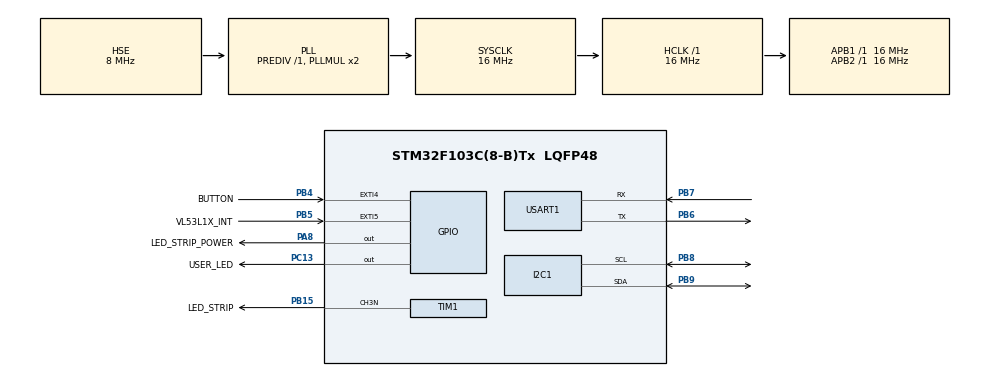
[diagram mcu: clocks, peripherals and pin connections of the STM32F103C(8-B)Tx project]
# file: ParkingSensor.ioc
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Dma.Request0=TIM1_CH3
Dma.Request1=USART1_TX
Dma.TIM1_CH3.0.Direction=DMA_MEMORY_TO_PERIPH
Dma.TIM1_CH3.0.Instance=DMA1_Channel6
Dma.TIM1_CH3.0.MemDataAlignment=DMA_MDATAALIGN_BYTE
Dma.TIM1_CH3.0.MemInc=DMA_MINC_ENABLE
Dma.TIM1_CH3.0.Mode=DMA_CIRCULAR
Dma.TIM1_CH3.0.PeriphDataAlignment=DMA_PDATAALIGN_WORD
Dma.TIM1_CH3.0.PeriphInc=DMA_PINC_DISABLE
Dma.TIM1_CH3.0.Priority=DMA_PRIORITY_MEDIUM
Dma.USART1_TX.1.Direction=DMA_MEMORY_TO_PERIPH
Dma.USART1_TX.1.Instance=DMA1_Channel4
Dma.USART1_TX.1.MemDataAlignment=DMA_MDATAALIGN_BYTE
Dma.USART1_TX.1.MemInc=DMA_MINC_ENABLE
Dma.USART1_TX.1.Mode=DMA_NORMAL
Dma.USART1_TX.1.PeriphDataAlignment=DMA_PDATAALIGN_BYTE
Dma.USART1_TX.1.PeriphInc=DMA_PINC_DISABLE
Dma.USART1_TX.1.Priority=DMA_PRIORITY_LOW
I2C1.I2C_Mode=I2C_Fast
Mcu.Family=STM32F1
Mcu.Name=STM32F103C(8-B)Tx
Mcu.Package=LQFP48
NVIC.DMA1_Channel4_IRQn=true\:0\:0\:false\:false\:true\:false\:true\:true
NVIC.DMA1_Channel6_IRQn=true\:4\:0\:true\:false\:true\:false\:true\:true
NVIC.EXTI4_IRQn=true\:6\:0\:true\:false\:true\:true\:true\:true
NVIC.EXTI9_5_IRQn=true\:6\:0\:true\:false\:true\:true\:true\:true
NVIC.PriorityGroup=NVIC_PRIORITYGROUP_4
NVIC.USART1_IRQn=true\:10\:0\:true\:false\:true\:true\:true\:true
PA13.Mode=Serial_Wire
PA13.Signal=SYS_JTMS-SWDIO
PA14.Mode=Serial_Wire
PA14.Signal=SYS_JTCK-SWCLK
PA8.GPIO_Label=LED_STRIP_POWER
PA8.GPIO_ModeDefaultOutputPP=GPIO_MODE_OUTPUT_PP
PA8.GPIO_Speed=GPIO_SPEED_FREQ_HIGH
PA8.Signal=GPIO_Output
PB15.GPIO_Label=LED_STRIP
PB15.GPIO_ModeDefaultPP=GPIO_MODE_AF_OD
PB15.GPIO_Speed=GPIO_SPEED_FREQ_HIGH
PB15.Mode=PWM Generation3 CH3N
PB15.Signal=TIM1_CH3N
PB4.GPIO_Label=BUTTON
PB4.GPIO_ModeDefaultEXTI=GPIO_MODE_IT_RISING_FALLING
PB4.Signal=GPXTI4
PB5.GPIO_Label=VL53L1X_INT
PB5.Signal=GPXTI5
PB6.Mode=Asynchronous
PB6.Signal=USART1_TX
PB7.Mode=Asynchronous
PB7.Signal=USART1_RX
PB8.Mode=I2C
PB8.Signal=I2C1_SCL
PB9.Mode=I2C
PB9.Signal=I2C1_SDA
PC13-TAMPER-RTC.GPIO_Label=USER_LED
PC13-TAMPER-RTC.PinState=GPIO_PIN_SET
PC13-TAMPER-RTC.Signal=GPIO_Output
PD0-OSC_IN.Mode=HSE-External-Oscillator
PD0-OSC_IN.Signal=RCC_OSC_IN
PD1-OSC_OUT.Mode=HSE-External-Oscillator
PD1-OSC_OUT.Signal=RCC_OSC_OUT
ProjectManager.HeapSize=0x200
ProjectManager.StackSize=0x400
ProjectManager.TargetToolchain=CMake
RCC.AHBFreq_Value=16000000
RCC.APB1Freq_Value=16000000
RCC.APB1TimFreq_Value=16000000
RCC.APB2Freq_Value=16000000
RCC.APB2TimFreq_Value=16000000
RCC.HCLKFreq_Value=16000000
RCC.PLLSourceVirtual=RCC_PLLSOURCE_HSE
RCC.SYSCLKFreq_VALUE=16000000
RCC.SYSCLKSource=RCC_SYSCLKSOURCE_PLLCLK
RCC.USBFreq_Value=16000000
TIM1.AutoReloadPreload=TIM_AUTORELOAD_PRELOAD_ENABLE
TIM1.Channel-PWM\ Generation3\ CH3N=TIM_CHANNEL_3
TIM1.Period=29
USART1.VirtualMode=VM_ASYNC
VP_TIM1_VS_ClockSourceINT.Mode=Internal
board=custom

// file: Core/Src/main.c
/* USER CODE BEGIN Header */
/**
  ******************************************************************************
  * @file           : main.c
  * @brief          : Main program body
  ******************************************************************************
  * @attention
  *
  * Copyright (c) 2024 STMicroelectronics.
  * All rights reserved.
  *
  * This software is licensed under terms that can be found in the LICENSE file
  * in the root directory of this software component.
  * If no LICENSE file comes with this software, it is provided AS-IS.
  *
  ******************************************************************************
  */
/* USER CODE END Header */
#include "main.h"
#include "dma.h"
#include "gpio.h"
#include "i2c.h"
#include "tim.h"
#include "usart.h"

/* USER CODE BEGIN Includes */
#include "VL53L1X_api.h"
#include "button.h"
#include "eeprom.h"
#include "math.h"
#include "miniPrintf.h"
#include "movingAvg.h"
#include "parkingConfig.h"
#include "smartLED.h"
#include "timer.h"

/* USER CODE END Includes */

/* USER CODE BEGIN PTD */
typedef enum {
    STATUS_RESET = 0,
    STATUS_RUNNING = 1,
    STATUS_STOP = 2,
} parkingSensorStatus_t;

/* USER CODE END PTD */

/* USER CODE BEGIN PV */
/* Objects */
button_t userBtn;
userTimer_t timerButton, timerBrightness, timerMeasure;
smartLED_t LEDstrip;
VL53L1_Dev_t VL53L1X_dev;
movingAvg_t _distMovAvg, _appSpeedMovAvg;
/* Sensor status */
parkingSensorStatus_t status = STATUS_STOP;
/* Distance measurement */
uint16_t measStopCnt = 0, measStartCnt = 0;
uint16_t actualDistance = 0, targetDistance = 1000, previousDistance = 0;
uint8_t blink = 0;
/* LED brightness control */
int8_t brightnessDir = 2;
uint16_t brightnessSaveCnt = 0, brightnessWaitCnt = 0;
/* USER CODE END PV */

void SystemClock_Config(void);

int main(void) {

    /* MCU Configuration--------------------------------------------------------*/

    /* Reset of all peripherals, Initializes the Flash interface and the Systick. */
    HAL_Init();

    /* Configure the system clock */
    SystemClock_Config();

    /* Initialize all configured peripherals */
    MX_GPIO_Init();
    MX_DMA_Init();
    MX_USART1_UART_Init();
    MX_TIM1_Init();
    MX_I2C1_Init();
    /* USER CODE BEGIN 2 */

    /* Button initialization */
    buttonInit(&userBtn, BUTTON_TYPE_NORMAL, configBUTTON_DEBOUNCING_MS, configBUTTON_RESET_MS, configBUTTON_LONGPRESS_MS, configBUTTON_VERYLONGPRESS_MS);

    /* Timers initialization */
    timerInit(&timerButton, configTIMER_BUTTON_MS);
    timerInit(&timerBrightness, configTIMER_BRIGHTNESS_MS);
    timerInit(&timerMeasure, configTIMER_MEASURE_MS);

    /* Moving average initialization */
    movingAvgInit(&_distMovAvg, configMOVAVG_LIDAR_SAMPLES);
    movingAvgInit(&_appSpeedMovAvg, configMOVAVG_APPSPEED_SAMPLES);

    /* LED Strip initialization */
    LEDstrip.chip = WS2812B;
    LEDstrip.type = SMARTLED_RGB;
    LEDstrip.size = configLED_NUMBER;
    LEDstrip.htim = &htim1;
    LEDstrip.timType = SMARTLED_TIMER_EXTENDED;
    LEDstrip.timChannel = TIM_CHANNEL_3;
    LEDstrip.LEDperIRQ = configLED_PER_IRQ;
    if (smartLED_init(&LEDstrip) != SMARTLED_SUCCESS) {
        for (;;) {}
    }

    /* VL53L1X initialization */
    VL53L1X_dev.I2cHandle = &hi2c1;
    VL53L1X_dev.I2cDevAddr = 0x52;
    uint8_t buf = 0;
    while (buf == 0) {
        VL53L1X_BootState(VL53L1X_dev, &buf);
        HAL_Delay(2);
    }
    VL53L1X_SensorInit(VL53L1X_dev);
    VL53L1X_StartTemperatureUpdate(VL53L1X_dev);                            /* Perform temperature calibration */
    VL53L1X_SetDistanceMode(VL53L1X_dev, 2);                                /* 1=short, 2=long */
    VL53L1X_SetTimingBudgetInMs(VL53L1X_dev, configLIDAR_TIMING_BUDGET_MS); /* in ms possible values [15, 20, 33, 50, 100(default), 200, 500] */
    VL53L1X_SetInterMeasurementInMs(VL53L1X_dev, configLIDAR_IM_TIME_MS);   /* in ms, IM must be >= TB+ 5ms, otherwise IM*2 */
    //VL53L1X_SetOffset(VL53L1X_dev,20); /* offset compensation in mm */
    //VL53L1X_SetXtalk(VL53L1X_dev, &xtalk);
    VL53L1X_SetROI(VL53L1X_dev, 16, 16); /* minimum ROI 4,4 */
    VL53L1X_SetROICenter(VL53L1X_dev, 199);
    //VL53L1X_CalibrateOffset(VL53L1X_dev, 140, &offset); /* may take few second to perform the offset cal*/
    //VL53L1X_CalibrateXtalk(VL53L1X_dev, 1000, &xtalk); /* may take few second to perform the xtalk cal */
    VL53L1X_StartRanging(VL53L1X_dev); /* This function has to be called to enable the ranging */
    uint8_t drdy = 0;
    VL53L1X_ClearInterrupt(VL53L1X_dev);

    /* Wait for first data to be ready so to synchronize with reading loop */
    while (!drdy) {
        VL53L1X_CheckForDataReady(VL53L1X_dev, &drdy);
        HAL_Delay(1);
    }
    VL53L1X_ClearInterrupt(VL53L1X_dev); /* clear interrupt has to be called to enable next interrupt*/

    /* Start timers */
    timerStart(&timerButton, HAL_GetTick());
    timerStart(&timerMeasure, HAL_GetTick());

    /* Initialize EEPROM emulation*/
    HAL_FLASH_Unlock();
    if (EEPROM_Init() != EEPROM_SUCCESS) {
        Error_Handler();
    }

    /* Read target distance and brightness values stored in flash memory */
    if (EEPROM_ReadVariable(0, (uint16_t*)&(LEDstrip._brightness))) {
        smartLED_setBrightness(&LEDstrip, 255);
    }
    if (EEPROM_ReadVariable(1, &targetDistance)) {
        targetDistance = 800;
    }

    /* Turn off LEDs */
    HAL_Delay(200);
    smartLED_updateAllRGBColors(&LEDstrip, 0, 0, 0);
    while (smartLED_startTransfer(&LEDstrip) != SMARTLED_SUCCESS) {
        HAL_Delay(10);
    }
    /* USER CODE END 2 */

    /* Infinite loop */
    /* USER CODE BEGIN WHILE */
    while (1) {
        /* Button reading loop */
        if (timerEventExists(&timerButton)) {
            timerClear(&timerButton);
            buttonPressType_t buttonPress = buttonGetPress(&userBtn, HAL_GetTick());
            if (buttonPress == BUTTON_VERYLONG_PRESS) {
                /* Start brightness changing loop */
                if ((brightnessDir % 2) == 0) {
                    /* Stop LIDAR loop */
                    timerStop(&timerMeasure);
                    brightnessSaveCnt = configLED_BRIGHTNESS_SAVE_DELAY_MS / configTIMER_BRIGHTNESS_MS;
                    brightnessWaitCnt = configLED_BRIGHTNESS_WAIT_MS / configTIMER_BRIGHTNESS_MS;
                    brightnessDir >>= 1;
                    smartLED_updateAllRGBColors(&LEDstrip, 0, 255, 0);
                    timerStart(&timerBrightness, HAL_GetTick());
                }
            } else if (buttonPress == BUTTON_RELEASE_PRESS) {
                /* Invert brightness increase / decrease direction */
                brightnessDir = (brightnessDir == 0) ? 2 : (-brightnessDir * 2);
            } else if (buttonPress == BUTTON_DOUBLE_PRESS) {
                /* Save target distance */
                targetDistance = actualDistance;
                EEPROM_WriteVariable(1, targetDistance);
            }
        }

        /* Brightness changing loop */
        if (timerEventExists(&timerBrightness)) {
            timerClear(&timerBrightness);
            if ((brightnessDir % 2) != 0) {
                if (brightnessDir == 1) {
                    smartLED_increaseBrightness(&LEDstrip);
                } else if (brightnessDir == -1) {
                    smartLED_decreaseBrightness(&LEDstrip);
                }
                uint16_t LEDnr = (configLED_NUMBER * LEDstrip._brightness) / 255;
                for (uint16_t ii = 0; ii < configLED_NUMBER; ii++) {
                    smartLED_updateColor(&LEDstrip, ii, SMARTLED_GREEN, (ii <= LEDnr) ? 0xFF : 0);
                    smartLED_updateColor(&LEDstrip, ii, SMARTLED_RED, 0);
                    smartLED_updateColor(&LEDstrip, ii, SMARTLED_BLUE, 0);
                }

                if (((LEDstrip._brightness == 0xFF) || (LEDstrip._brightness == 0))) {
                    /* If brightnessDir is 1 or -1 and brightness is either 0xFF or 0, wait before reversing direction */
                    brightnessDir = 3;
                    if (!brightnessWaitCnt--) {
                        brightnessDir = (LEDstrip._brightness == 0xFF) ? -1 : 1;
                        brightnessWaitCnt = configLED_BRIGHTNESS_WAIT_MS / configTIMER_BRIGHTNESS_MS;
                    }
                }
            } else if ((brightnessDir % 2) == 0) {
                /* If brightnessDir is 2 or -2 run countdown then stop and save value */
                if (!brightnessSaveCnt--) {
                    /* Reset brightness direction to 2, stop timer, save value and turn off LEDs */
                    brightnessDir = 2;
                    timerStop(&timerBrightness);
                    EEPROM_WriteVariable(0, LEDstrip._brightness);
                    smartLED_updateAllRGBColors(&LEDstrip, 0, 0, 0);
                    /* Re-start measurement timer */
                    /* Wait for first data to be ready so to synchronize with reading loop */
                    uint8_t drdy = 0;
                    while (!drdy) {
                        VL53L1X_CheckForDataReady(VL53L1X_dev, &drdy);
                        HAL_Delay(1);
                    }
                    VL53L1X_ClearInterrupt(VL53L1X_dev); /* clear interrupt has to be called to enable next interrupt*/
                    timerStart(&timerMeasure, HAL_GetTick());
                }
            }
#ifdef DEBUG
            miniPrintf("Brightness:%d\n", LEDstrip._brightness);
#endif /* DEBUG */
            while (smartLED_startTransfer(&LEDstrip) != SMARTLED_SUCCESS) {
                HAL_Delay(10);
            }
        }

        /* Measurement loop */
        if (timerEventExists(&timerMeasure)) {
            timerClear(&timerMeasure);
            uint8_t drdy = 0;
            VL53L1X_CheckForDataReady(VL53L1X_dev, &drdy);
            if (drdy) {
                uint8_t rangeStatus;
                uint16_t distance;
                VL53L1X_GetRangeStatus(VL53L1X_dev, &rangeStatus);
                VL53L1X_GetDistance(VL53L1X_dev, &distance);
                //	VL53L1X_GetSignalRate(VL53L1X_dev, &signalRate);
                //	VL53L1X_GetAmbientRate(VL53L1X_dev, &ambientRate);
                VL53L1X_ClearInterrupt(VL53L1X_dev); /* clear interrupt has to be called to enable next interrupt*/

                if (rangeStatus == 0) {
                    previousDistance = actualDistance;
                    actualDistance = (uint16_t)roundf(movingAvgCalc(&_distMovAvg, distance));
                    float appSpeed = movingAvgCalc(&_appSpeedMovAvg, (actualDistance - previousDistance) * 1e3 / configTIMER_MEASURE_MS);
#ifdef DEBUG
                    miniPrintf(">TDist:%d\n>CDist:%d\n", targetDistance, actualDistance);
#endif /* DEBUG */
                    /* Finite state machine */
                    switch (status) {
                        case STATUS_RUNNING:
                            if (actualDistance >= (targetDistance + configMEASURING_STOP_MM)) {
                                status = STATUS_RESET;
                            } else if (appSpeed > configMIN_APPROACH_SPEED_MM_S) {
                                if (!measStopCnt--) {
                                    status = STATUS_STOP;
                                }
                            } else {
                                measStopCnt = configMEASURING_STOP_DELAY_MS / configTIMER_MEASURE_MS;
                            }
                            break;
                        case STATUS_STOP:
                            if (actualDistance >= (targetDistance + configMEASURING_STOP_MM)) {
                                status = STATUS_RESET;
                            } else if (actualDistance <= (targetDistance + configMEASURING_RANGE_MM)) {
                                if (appSpeed <= configMIN_APPROACH_SPEED_MM_S) {
                                    if (!measStartCnt--) {
                                        status = STATUS_RUNNING;
                                    }
                                } else {
                                    measStartCnt = configMEASURING_START_DELAY_MS / configTIMER_MEASURE_MS;
                                }
                            }
                            break;
                        case STATUS_RESET:
                            if (actualDistance <= (targetDistance + configMEASURING_RANGE_MM)) {
                                status = STATUS_RUNNING;
                            }
                            break;
                        default: break;
                    }

                    /* Control LED color */
                    if (status == STATUS_RUNNING) {
                        if (actualDistance <= (targetDistance + configMIN_DISTANCE_MM)) {
                            /* Show solid red light */
                            blink = ~blink;
                            smartLED_updateAllRGBColors(&LEDstrip, blink, 0, 0);
                            smartLED_startTransfer(&LEDstrip);
                        } else {
                            /* Show decreasing green bar */
                            uint16_t LEDnr =
                                (uint16_t)(roundf(configLED_NUMBER * fminf((float)(actualDistance - targetDistance - configMIN_DISTANCE_MM) / (configMEASURING_RANGE_MM - configMIN_DISTANCE_MM), 1)));
                            for (uint16_t ii = 0; ii < configLED_NUMBER; ii++) {
                                smartLED_updateColor(&LEDstrip, ii, SMARTLED_GREEN, (ii <= LEDnr) ? 0xFF : 0);
                                smartLED_updateColor(&LEDstrip, ii, SMARTLED_RED, 0);
                                smartLED_updateColor(&LEDstrip, ii, SMARTLED_BLUE, 0);
                            }
                            while (smartLED_startTransfer(&LEDstrip) != SMARTLED_SUCCESS) {
                                HAL_Delay(10);
                            }
                        }
                    } else {
                        /* Turn off LEDs */
                        smartLED_updateAllRGBColors(&LEDstrip, 0, 0, 0);
                        while (smartLED_startTransfer(&LEDstrip) != SMARTLED_SUCCESS) {
                            HAL_Delay(10);
                        }
                    }
                } else {
#ifdef DEBUG
                    miniPrintf("LIDARstatus:%d\n", rangeStatus);
#endif /* DEBUG */
                    /* Turn off LEDs */
                    smartLED_updateAllRGBColors(&LEDstrip, 0, 0, 0);
                    while (smartLED_startTransfer(&LEDstrip) != SMARTLED_SUCCESS) {
                        HAL_Delay(10);
                    }
                }
            }
        }
    }

    /* USER CODE END WHILE */

}

void SystemClock_Config(void) {
    RCC_OscInitTypeDef RCC_OscInitStruct = {0};
    RCC_ClkInitTypeDef RCC_ClkInitStruct = {0};

    /** Initializes the RCC Oscillators according to the specified parameters
  * in the RCC_OscInitTypeDef structure.
  */
    RCC_OscInitStruct.OscillatorType = RCC_OSCILLATORTYPE_HSE;
    RCC_OscInitStruct.HSEState = RCC_HSE_ON;
    RCC_OscInitStruct.HSEPredivValue = RCC_HSE_PREDIV_DIV1;
    RCC_OscInitStruct.HSIState = RCC_HSI_ON;
    RCC_OscInitStruct.PLL.PLLState = RCC_PLL_ON;
    RCC_OscInitStruct.PLL.PLLSource = RCC_PLLSOURCE_HSE;
    RCC_OscInitStruct.PLL.PLLMUL = RCC_PLL_MUL2;
    if (HAL_RCC_OscConfig(&RCC_OscInitStruct) != HAL_OK) {
        Error_Handler();
    }

    /** Initializes the CPU, AHB and APB buses clocks
  */
    RCC_ClkInitStruct.ClockType = RCC_CLOCKTYPE_HCLK | RCC_CLOCKTYPE_SYSCLK | RCC_CLOCKTYPE_PCLK1 | RCC_CLOCKTYPE_PCLK2;
    RCC_ClkInitStruct.SYSCLKSource = RCC_SYSCLKSOURCE_PLLCLK;
    RCC_ClkInitStruct.AHBCLKDivider = RCC_SYSCLK_DIV1;
    RCC_ClkInitStruct.APB1CLKDivider = RCC_HCLK_DIV1;
    RCC_ClkInitStruct.APB2CLKDivider = RCC_HCLK_DIV1;

    if (HAL_RCC_ClockConfig(&RCC_ClkInitStruct, FLASH_LATENCY_0) != HAL_OK) {
        Error_Handler();
    }
}

/* USER CODE BEGIN 4 */
void HAL_SYSTICK_Callback(void) {
    /* Process user timer(s) */
    timerProcess(&timerButton, HAL_GetTick());
    timerProcess(&timerBrightness, HAL_GetTick());
    timerProcess(&timerMeasure, HAL_GetTick());
}

void HAL_GPIO_EXTI_Callback(uint16_t GPIO_Pin) {
    if (GPIO_Pin == BUTTON_Pin) {
        /* Process buttons */
        buttonEvent(&userBtn, !HAL_GPIO_ReadPin(BUTTON_GPIO_Port, BUTTON_Pin), HAL_GetTick());
    } else {
        __NOP();
    }
}

void HAL_TIM_PWM_PulseFinishedHalfCpltCallback(TIM_HandleTypeDef* htim) {
    /* Process LED strip */
    if (htim->Instance == htim1.Instance) {
        smartLED_updateTransfer(&LEDstrip, SMARTLED_IRQ_HALFCPLT);
    }
}

void HAL_TIM_PWM_PulseFinishedCallback(TIM_HandleTypeDef* htim) {
    /* Process LED strip */
    if (htim->Instance == htim1.Instance) {
        smartLED_updateTransfer(&LEDstrip, SMARTLED_IRQ_FINISHED);
    }
}

/* USER CODE END 4 */

void Error_Handler(void) {
    __disable_irq();
    while (1) {}
}
